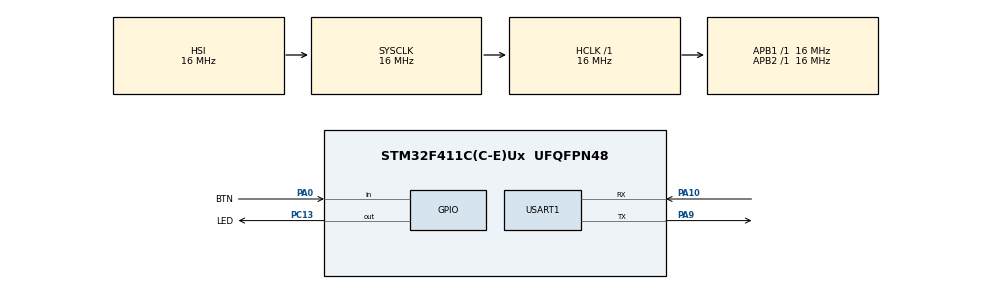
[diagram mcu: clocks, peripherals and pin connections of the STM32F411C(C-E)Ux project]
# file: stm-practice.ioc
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Mcu.Family=STM32F4
Mcu.Name=STM32F411C(C-E)Ux
Mcu.Package=UFQFPN48
NVIC.PriorityGroup=NVIC_PRIORITYGROUP_4
NVIC.USART1_IRQn=true\:0\:0\:false\:false\:true\:true\:true\:true
PA0-WKUP.GPIO_Label=BTN
PA0-WKUP.GPIO_PuPd=GPIO_PULLUP
PA0-WKUP.Signal=GPIO_Input
PA10.Mode=Asynchronous
PA10.Signal=USART1_RX
PA13.Mode=Serial_Wire
PA13.Signal=SYS_JTMS-SWDIO
PA14.Mode=Serial_Wire
PA14.Signal=SYS_JTCK-SWCLK
PA9.Mode=Asynchronous
PA9.Signal=USART1_TX
PC13-ANTI_TAMP.GPIO_Label=LED
PC13-ANTI_TAMP.Signal=GPIO_Output
ProjectManager.HeapSize=0x200
ProjectManager.StackSize=0x400
ProjectManager.TargetToolchain=CMake
RCC.AHBFreq_Value=16000000
RCC.APB1Freq_Value=16000000
RCC.APB2Freq_Value=16000000
RCC.CortexFreq_Value=16000000
RCC.HSE_VALUE=25000000
RCC.HSI_VALUE=16000000
RCC.LSE_VALUE=32768
RCC.SYSCLKFreq_VALUE=16000000
RCC.VCOOutputFreq_Value=192000000
USART1.VirtualMode=VM_ASYNC
board=custom

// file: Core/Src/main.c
/* USER CODE BEGIN Header */
/**
  ******************************************************************************
  * @file           : main.c
  * @brief          : Main program body
  ******************************************************************************
  * @attention
  *
  * Copyright (c) 2026 STMicroelectronics.
  * All rights reserved.
  *
  * This software is licensed under terms that can be found in the LICENSE file
  * in the root directory of this software component.
  * If no LICENSE file comes with this software, it is provided AS-IS.
  *
  ******************************************************************************
  */
/* USER CODE END Header */
#include "main.h"

/* USER CODE BEGIN PD */

/* Commands from the ESP32-S3 */
#define CMD_LED_ON   'L'
#define CMD_LED_OFF  'O'

/* Black Pill: the LED on PC13 is active low */
#define LED_ON_LEVEL   GPIO_PIN_RESET
#define LED_OFF_LEVEL  GPIO_PIN_SET

/* KEY button on PA0: active low, internal pull-up */
#define BTN_DEBOUNCE_MS  30
#define UART_TX_TIMEOUT_MS  10

/* USER CODE END PD */

UART_HandleTypeDef huart1;

/* USER CODE BEGIN PV */

static uint8_t rx_byte;

/* USER CODE END PV */

void SystemClock_Config(void);
static void MX_GPIO_Init(void);
static void MX_USART1_UART_Init(void);
/* USER CODE BEGIN PFP */

static void led_set(uint8_t on);
static void send_led_cmd(uint8_t on);

/* USER CODE END PFP */

int main(void)
{

  /* MCU Configuration--------------------------------------------------------*/

  /* Reset of all peripherals, Initializes the Flash interface and the Systick. */
  HAL_Init();

  /* Configure the system clock */
  SystemClock_Config();

  /* Initialize all configured peripherals */
  MX_GPIO_Init();
  MX_USART1_UART_Init();
  /* USER CODE BEGIN 2 */

  led_set(0);

  /* Wait for one command byte; the RX callback restarts the reception */
  if (HAL_UART_Receive_IT(&huart1, &rx_byte, 1) != HAL_OK)
  {
    Error_Handler();
  }

  /* State of the ESP32 LED, toggled by the KEY button */
  uint8_t remote_led_on = 0;
  GPIO_PinState btn_last = GPIO_PIN_SET;
  GPIO_PinState btn_stable = GPIO_PIN_SET;
  uint32_t btn_changed_at = 0;

  /* Sync the ESP32 LED with the start state */
  send_led_cmd(remote_led_on);

  /* USER CODE END 2 */

  /* Infinite loop */
  /* USER CODE BEGIN WHILE */
  while (1)
  {
    /* The local LED is controlled from the USART1 RX interrupt */

    /* Debounce: accept a new button level only after it is stable */
    GPIO_PinState btn = HAL_GPIO_ReadPin(BTN_GPIO_Port, BTN_Pin);
    uint32_t now = HAL_GetTick();

    if (btn != btn_last)
    {
      btn_last = btn;
      btn_changed_at = now;
    }
    else if (btn != btn_stable && now - btn_changed_at >= BTN_DEBOUNCE_MS)
    {
      btn_stable = btn;
      if (btn_stable == GPIO_PIN_RESET)
      {
        remote_led_on = !remote_led_on;
        send_led_cmd(remote_led_on);
      }
    }

    /* USER CODE END WHILE */

  }
}

void SystemClock_Config(void)
{
  RCC_OscInitTypeDef RCC_OscInitStruct = {0};
  RCC_ClkInitTypeDef RCC_ClkInitStruct = {0};

  /** Configure the main internal regulator output voltage
  */
  __HAL_RCC_PWR_CLK_ENABLE();
  __HAL_PWR_VOLTAGESCALING_CONFIG(PWR_REGULATOR_VOLTAGE_SCALE1);

  /** Initializes the RCC Oscillators according to the specified parameters
  * in the RCC_OscInitTypeDef structure.
  */
  RCC_OscInitStruct.OscillatorType = RCC_OSCILLATORTYPE_HSI;
  RCC_OscInitStruct.HSIState = RCC_HSI_ON;
  RCC_OscInitStruct.HSICalibrationValue = RCC_HSICALIBRATION_DEFAULT;
  RCC_OscInitStruct.PLL.PLLState = RCC_PLL_NONE;
  if (HAL_RCC_OscConfig(&RCC_OscInitStruct) != HAL_OK)
  {
    Error_Handler();
  }

  /** Initializes the CPU, AHB and APB buses clocks
  */
  RCC_ClkInitStruct.ClockType = RCC_CLOCKTYPE_HCLK|RCC_CLOCKTYPE_SYSCLK
                              |RCC_CLOCKTYPE_PCLK1|RCC_CLOCKTYPE_PCLK2;
  RCC_ClkInitStruct.SYSCLKSource = RCC_SYSCLKSOURCE_HSI;
  RCC_ClkInitStruct.AHBCLKDivider = RCC_SYSCLK_DIV1;
  RCC_ClkInitStruct.APB1CLKDivider = RCC_HCLK_DIV1;
  RCC_ClkInitStruct.APB2CLKDivider = RCC_HCLK_DIV1;

  if (HAL_RCC_ClockConfig(&RCC_ClkInitStruct, FLASH_LATENCY_0) != HAL_OK)
  {
    Error_Handler();
  }
}

static void MX_USART1_UART_Init(void)
{

  huart1.Instance = USART1;
  huart1.Init.BaudRate = 115200;
  huart1.Init.WordLength = UART_WORDLENGTH_8B;
  huart1.Init.StopBits = UART_STOPBITS_1;
  huart1.Init.Parity = UART_PARITY_NONE;
  huart1.Init.Mode = UART_MODE_TX_RX;
  huart1.Init.HwFlowCtl = UART_HWCONTROL_NONE;
  huart1.Init.OverSampling = UART_OVERSAMPLING_16;
  if (HAL_UART_Init(&huart1) != HAL_OK)
  {
    Error_Handler();
  }

}

static void MX_GPIO_Init(void)
{
  GPIO_InitTypeDef GPIO_InitStruct = {0};

  /* GPIO Ports Clock Enable */
  __HAL_RCC_GPIOC_CLK_ENABLE();
  __HAL_RCC_GPIOA_CLK_ENABLE();

  /*Configure GPIO pin Output Level */
  HAL_GPIO_WritePin(LED_GPIO_Port, LED_Pin, GPIO_PIN_RESET);

  /*Configure GPIO pin : LED_Pin */
  GPIO_InitStruct.Pin = LED_Pin;
  GPIO_InitStruct.Mode = GPIO_MODE_OUTPUT_PP;
  GPIO_InitStruct.Pull = GPIO_NOPULL;
  GPIO_InitStruct.Speed = GPIO_SPEED_FREQ_LOW;
  HAL_GPIO_Init(LED_GPIO_Port, &GPIO_InitStruct);

  /*Configure GPIO pin : BTN_Pin */
  GPIO_InitStruct.Pin = BTN_Pin;
  GPIO_InitStruct.Mode = GPIO_MODE_INPUT;
  GPIO_InitStruct.Pull = GPIO_PULLUP;
  HAL_GPIO_Init(BTN_GPIO_Port, &GPIO_InitStruct);

}

/* USER CODE BEGIN 4 */

static void led_set(uint8_t on)
{
  HAL_GPIO_WritePin(LED_GPIO_Port, LED_Pin, on ? LED_ON_LEVEL : LED_OFF_LEVEL);
}

static void send_led_cmd(uint8_t on)
{
  uint8_t cmd = on ? CMD_LED_ON : CMD_LED_OFF;
  HAL_UART_Transmit(&huart1, &cmd, 1, UART_TX_TIMEOUT_MS);
}

void HAL_UART_RxCpltCallback(UART_HandleTypeDef *huart)
{
  if (huart->Instance != USART1)
  {
    return;
  }

  if (rx_byte == CMD_LED_ON)
  {
    led_set(1);
  }
  else if (rx_byte == CMD_LED_OFF)
  {
    led_set(0);
  }
  /* Ignore other bytes */

  HAL_UART_Receive_IT(&huart1, &rx_byte, 1);
}

void HAL_UART_ErrorCallback(UART_HandleTypeDef *huart)
{
  if (huart->Instance != USART1)
  {
    return;
  }

  /* Noise, framing or overrun error stops the reception. Start it again. */
  HAL_UART_Receive_IT(&huart1, &rx_byte, 1);
}

/* USER CODE END 4 */

void Error_Handler(void)
{
  __disable_irq();
  while (1)
  {
  }
}
